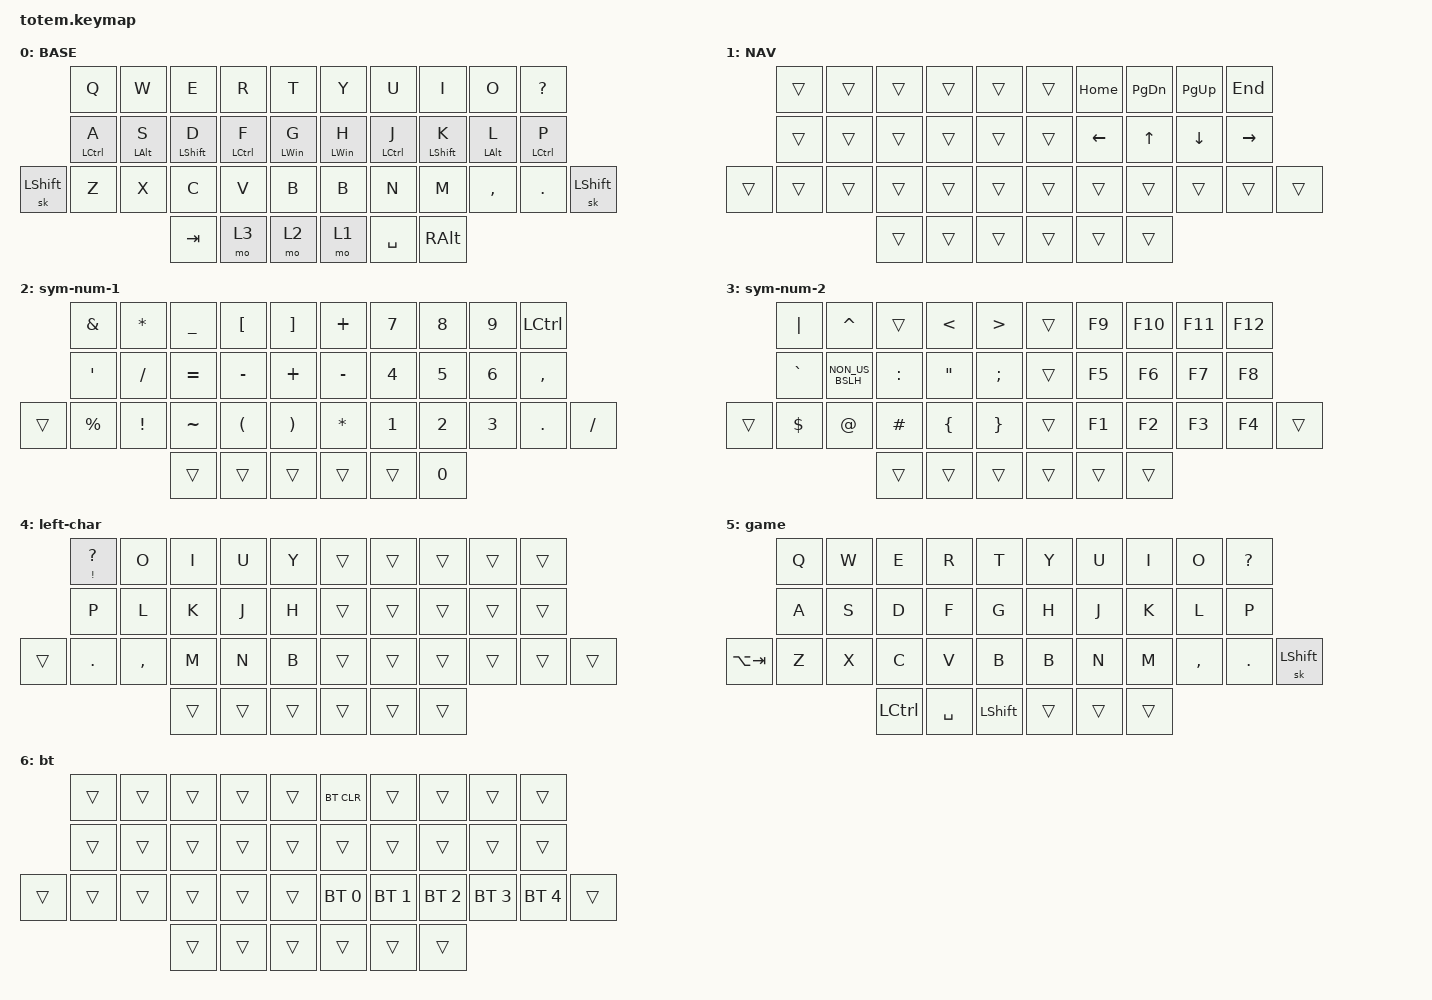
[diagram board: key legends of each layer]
//
//                                                        ▀▀▀▀▀     ▀▀▀▀▀          ▀▀█▀▀
//                                                        ▄▀▀▀▄  ▄  ▄▀▀▀▄  ▄  ▄▀▀▀▄  █  ▄▀▀▀▄
//                                                        █   █  █  █   █  █  █   █  █  █   █
//                                                         ▀▀▀   █   ▀▀▀   █   ▀▀▀   ▀   ▀▀▀
//                                                               █      ▄▄▄█▄▄▄    █   █  
//                                                               ▀      █  █  █     █▄█
//                                                             ▀▀▀▀▀    █  █  █      ▀
//                                                                      ▀  ▀  ▀
//
// ▄▄▄▄▄▄▄▄▄▄▄▄▄▄▄▄▄▄▄▄▄▄▄▄▄▄▄▄▄▄▄▄▄▄▄▄▄▄▄▄▄▄▄▄▄▄▄▄▄▄▄▄▄▄▄▄▄▄▄▄▄▄▄▄▄▄▄▄▄▄▄▄▄▄▄▄▄▄▄▄▄▄▄▄▄▄▄▄▄▄▄▄▄▄▄▄▄▄▄▄▄▄▄▄▄▄▄▄▄▄▄▄▄▄▄▄▄▄▄▄▄▄▄▄▄▄▄▄▄▄▄▄▄▄▄▄▄▄▄▄▄▄▄▄▄▄▄▄▄

#include <behaviors.dtsi>
#include <dt-bindings/zmk/bt.h>
#include <dt-bindings/zmk/keys.h>

#define BASE 0
#define NAV  1
#define SYM  2
#define ADJ  3
#define TVP1 4
#define TVP2 5

&mt {
    quick-tap-ms = <100>;
    global-quick-tap;
    flavor = "tap-preferred";
    tapping-term-ms = <155>;
};

/ {
    combos {
        compatible = "zmk,combos";

        clear_all_bt {
            bindings = <&bt BT_CLR_ALL>;
            key-positions = <0 1 3 2 4 5 6 7 8 9>;
        };

        enter {
            bindings = <&kp ENTER>;
            key-positions = <7 6>;
        };

        right-esc {
            bindings = <&kp ESCAPE>;
            key-positions = <8 9>;
        };

        left-esc {
            bindings = <&kp ESCAPE>;
            key-positions = <0 1>;
        };

        right-bsp {
            bindings = <&kp BACKSPACE>;
            key-positions = <27 28>;
        };

        left-bsp {
            bindings = <&kp BACKSPACE>;
            key-positions = <24 23>;
        };

        left-enter {
            bindings = <&kp ENTER>;
            key-positions = <3 2>;
        };

        left-hanja {
            bindings = <&kp RCTRL>;
            key-positions = <1 2>;
        };

        left-del {
            bindings = <&kp DELETE>;
            key-positions = <23 22>;
        };

        combo-layer {
            bindings = <&mo 4>;
            key-positions = <33 34>;
        };

        right-del {
            bindings = <&kp DELETE>;
            key-positions = <29 28>;
        };

        right-caps {
            bindings = <&kp CAPSLOCK>;
            key-positions = <7 8>;
        };

        left-sp {
            bindings = <&kp SPACE>;
            key-positions = <23 22 24>;
        };

        right-tab {
            bindings = <&kp TAB>;
            key-positions = <27 28 29>;
        };

        game {
            bindings = <&to 5>;
            key-positions = <21 22 23 24 25>;
        };

        bt-layer {
            bindings = <&mo 6>;
            key-positions = <0 1 2 3 4>;
        };
    };

    behaviors {
        shiftalt_bsp: shiftalt_bsp {
            compatible = "zmk,behavior-tap-dance";
            label = "SHIFTALT_BSP";
            #binding-cells = <0>;
            tapping-term-ms = <170>;
            bindings = <&mt LS(LEFT_ALT) BACKSPACE>, <&kp BACKSPACE>;
        };

        ctrlshift_enter: ctrlshift_enter {
            compatible = "zmk,behavior-tap-dance";
            label = "CTRLSHIFT_ENTER";
            #binding-cells = <0>;
            tapping-term-ms = <170>;
            bindings = <&mt LS(LEFT_ALT) ENTER>, <&kp ENTER>;
        };
    };

    keymap {
        compatible = "zmk,keymap";

        // ▄▄▄▄▄▄▄▄▄▄▄▄▄▄▄▄▄▄▄▄▄▄▄▄▄▄▄▄▄▄▄▄▄▄▄▄▄▄▄▄▄▄▄▄▄▄▄▄▄▄▄▄▄▄▄▄▄▄▄▄▄▄▄▄▄▄▄▄▄▄▄▄▄▄▄▄▄▄▄▄▄▄▄▄▄▄▄▄▄▄▄▄▄▄▄▄▄▄▄▄▄▄▄▄▄▄▄▄▄▄▄▄▄▄▄▄▄▄▄▄▄▄▄▄▄▄▄▄▄▄▄▄▄▄▄▄▄▄▄▄▄▄▄▄▄▄▄▄▄

        base_layer {
            // ┏━━━━━━━━━━━━━━━━━━━━━━━━━━━━━━━━━━━━━━━┓

            label = "BASE";

            // ┗━━━━━━━━━━━━━━━━━━━━━━━━━━━━━━━━━━━━━━━┛
            //             ┏━━━━━━━━━━━┳━━━━━━━━━━━┳━━━━━━━━━━━┳━━━━━━━━━━━┳━━━━━━━━━━━┓   ┏━━━━━━━━━━━┳━━━━━━━━━━━┳━━━━━━━━━━━┳━━━━━━━━━━━┳━━━━━━━━━━━┓
            //             ┃     Q     ┃     W     ┃     F     ┃     P     ┃     G     ┃   ┃     J     ┃     L     ┃     U     ┃     Y     ┃     ;     ┃
            //             ┣━━━━━━━━━━━╋━━━━━━━━━━━╋━━━━━━━━━━━╋━━━━━━━━━━━╋━━━━━━━━━━━┫   ┣━━━━━━━━━━━╋━━━━━━━━━━━╋━━━━━━━━━━━╋━━━━━━━━━━━╋━━━━━━━━━━━┫
            //             ┃     A     ┃     R     ┃     S     ┃     T     ┃     D     ┃   ┃     H     ┃     N     ┃     E     ┃     I     ┃     O     ┃
            // ┏━━━━━━━━━━━╋━━━━━━━━━━━╋━━━━━━━━━━━╋━━━━━━━━━━━╋━━━━━━━━━━━╋━━━━━━━━━━━┫   ┣━━━━━━━━━━━╋━━━━━━━━━━━╋━━━━━━━━━━━╋━━━━━━━━━━━╋━━━━━━━━━━━╋━━━━━━━━━━━┓
            // ┃     Q     ┃     Z     ┃     X     ┃     C     ┃     V     ┃     B     ┃   ┃     K     ┃     M     ┃     ,     ┃     .     ┃     /     ┃     \     ┃
            // ┗━━━━━━━━━━━┻━━━━━━━━━━━┻━━━━━━━━━━━╋━━━━━━━━━━━╋━━━━━━━━━━━╋━━━━━━━━━━━┫   ┣━━━━━━━━━━━╋━━━━━━━━━━━╋━━━━━━━━━━━╋━━━━━━━━━━━┻━━━━━━━━━━━┻━━━━━━━━━━━┛
            //                                     ┃    DEL    ┃    TAB    ┃    SPC    ┃   ┃   ENTER   ┃           ┃   BSPC    ┃
            //                                     ┗━━━━━━━━━━━┻━━━━━━━━━━━┻━━━━━━━━━━━┛   ┗━━━━━━━━━━━┻━━━━━━━━━━━┻━━━━━━━━━━━┛

            bindings = <
                &kp Q               &kp W           &kp E         &kp R        &kp T         &kp Y       &kp U        &kp I          &kp O           &kp QUESTION
                &mt LEFT_CONTROL A  &mt LEFT_ALT S  &mt LSHIFT D  &mt LCTRL F  &mt LWIN G    &mt LWIN H  &mt LCTRL J  &mt LSHFT K    &mt LEFT_ALT L  &mt LCTRL P
&sk LEFT_SHIFT  &kp Z               &kp X           &kp C         &kp V        &kp B         &kp B       &kp N        &kp M          &kp COMMA       &kp PERIOD    &sk LEFT_SHIFT
                                                    &kp TAB       &mo 3        &mo 2         &mo 1       &kp SPACE    &kp RIGHT_ALT
            >;
        };

        NAV {
            bindings = <
        &trans  &trans  &trans  &trans  &trans    &trans  &kp HOME  &kp PAGE_DOWN  &kp PG_UP       &kp END
        &trans  &trans  &trans  &trans  &trans    &trans  &kp LEFT  &kp UP_ARROW   &kp DOWN_ARROW  &kp RIGHT
&trans  &trans  &trans  &trans  &trans  &trans    &trans  &trans    &trans         &trans          &trans     &trans
                        &trans  &trans  &trans    &trans  &trans    &trans
            >;
        };

        sym-num-1 {
            // ┏━━━━━━━━━━━━━━━━━━━━━━━━━━━━━━━━━━━━━━━┓

            label = "sym-num-1";

            // ┗━━━━━━━━━━━━━━━━━━━━━━━━━━━━━━━━━━━━━━━┛
            //             ┏━━━━━━━━━━━┳━━━━━━━━━━━┳━━━━━━━━━━━┳━━━━━━━━━━━┳━━━━━━━━━━━┓   ┏━━━━━━━━━━━┳━━━━━━━━━━━┳━━━━━━━━━━━┳━━━━━━━━━━━┳━━━━━━━━━━━┓
            //             ┃           ┃           ┃     UP    ┃           ┃     {     ┃   ┃     }     ┃     7     ┃     8     ┃     9     ┃     +     ┃
            //             ┣━━━━━━━━━━━╋━━━━━━━━━━━╋━━━━━━━━━━━╋━━━━━━━━━━━╋━━━━━━━━━━━┫   ┣━━━━━━━━━━━╋━━━━━━━━━━━╋━━━━━━━━━━━╋━━━━━━━━━━━╋━━━━━━━━━━━┫
            //             ┃   SHIFT   ┃   LEFT    ┃    DOWN   ┃   RIGHT   ┃     [     ┃   ┃     ]     ┃     4     ┃     5     ┃     6     ┃     -     ┃
            // ┏━━━━━━━━━━━╋━━━━━━━━━━━╋━━━━━━━━━━━╋━━━━━━━━━━━╋━━━━━━━━━━━╋━━━━━━━━━━━┫   ┣━━━━━━━━━━━╋━━━━━━━━━━━╋━━━━━━━━━━━╋━━━━━━━━━━━╋━━━━━━━━━━━╋━━━━━━━━━━━┓
            // ┃           ┃           ┃   P UP    ┃  C LOCK   ┃  P DOWN   ┃     (     ┃   ┃     )     ┃     1     ┃     2     ┃     3     ┃     *     ┃           ┃
            // ┗━━━━━━━━━━━┻━━━━━━━━━━━┻━━━━━━━━━━━╋━━━━━━━━━━━╋━━━━━━━━━━━╋━━━━━━━━━━━┫   ┣━━━━━━━━━━━╋━━━━━━━━━━━╋━━━━━━━━━━━╋━━━━━━━━━━━┻━━━━━━━━━━━┻━━━━━━━━━━━┛
            //                                     ┃           ┃    TAB    ┃    SPC    ┃   ┃    DEL    ┃     0     ┃           ┃
            //                                     ┗━━━━━━━━━━━┻━━━━━━━━━━━┻━━━━━━━━━━━┛   ┗━━━━━━━━━━━┻━━━━━━━━━━━┻━━━━━━━━━━━┛

            bindings = <
        &kp AMPS          &kp ASTERISK     &kp UNDERSCORE  &kp LEFT_BRACKET      &kp RIGHT_BRACKET        &kp PLUS      &kp N7        &kp N8        &kp N9        &kp LCTRL
        &kp SINGLE_QUOTE  &kp SLASH        &kp EQUAL       &kp MINUS             &kp PLUS                 &kp MINUS     &kp NUMBER_4  &kp N5        &kp NUMBER_6  &kp COMMA
&trans  &kp PERCENT       &kp EXCLAMATION  &kp TILDE       &kp LEFT_PARENTHESIS  &kp RIGHT_PARENTHESIS    &kp ASTERISK  &kp NUMBER_1  &kp NUMBER_2  &kp NUMBER_3  &kp PERIOD  &kp SLASH
                                           &trans          &trans                &trans                   &trans        &trans        &kp N0
            >;
        };

        sym-num-2 {
            bindings = <
        &kp PIPE    &kp CARET        &trans     &kp LESS_THAN      &kp GREATER_THAN    &trans  &kp F9  &kp F10  &kp F11  &kp F12
        &kp GRAVE   &kp NON_US_BSLH  &kp COLON  &kp DOUBLE_QUOTES  &kp SEMICOLON       &trans  &kp F5  &kp F6   &kp F7   &kp F8
&trans  &kp DOLLAR  &kp AT           &kp HASH   &kp LEFT_BRACE     &kp RIGHT_BRACE     &trans  &kp F1  &kp F2   &kp F3   &kp F4   &trans
                                     &trans     &trans             &trans              &trans  &trans  &trans
            >;

            label = "sym-num-2";
        };

        left-char {
            bindings = <
        &mt EXCLAMATION QUESTION  &kp O      &kp I   &kp U   &kp Y     &trans  &trans  &trans  &trans  &trans
        &kp P                     &kp L      &kp K   &kp J   &kp H     &trans  &trans  &trans  &trans  &trans
&trans  &kp PERIOD                &kp COMMA  &kp M   &kp N   &kp B     &trans  &trans  &trans  &trans  &trans  &trans
                                             &trans  &trans  &trans    &trans  &trans  &trans
            >;
        };

        layer_6 {
            label = "game";
            bindings = <
             &kp Q  &kp W  &kp E      &kp R      &kp T             &kp Y   &kp U   &kp I   &kp O      &kp QUESTION
             &kp A  &kp S  &kp D      &kp F      &kp G             &kp H   &kp J   &kp K   &kp L      &kp P
&kp LA(TAB)  &kp Z  &kp X  &kp C      &kp V      &kp B             &kp B   &kp N   &kp M   &kp COMMA  &kp PERIOD    &sk LEFT_SHIFT
                           &kp LCTRL  &kp SPACE  &kp LEFT_SHIFT    &trans  &trans  &trans
            >;
        };

        bt {
            bindings = <
        &trans  &trans  &trans  &trans  &trans    &bt BT_CLR    &trans        &trans        &trans        &trans
        &trans  &trans  &trans  &trans  &trans    &trans        &trans        &trans        &trans        &trans
&trans  &trans  &trans  &trans  &trans  &trans    &bt BT_SEL 0  &bt BT_SEL 1  &bt BT_SEL 2  &bt BT_SEL 3  &bt BT_SEL 4  &trans
                        &trans  &trans  &trans    &trans        &trans        &trans
            >;
        };
    };
};
